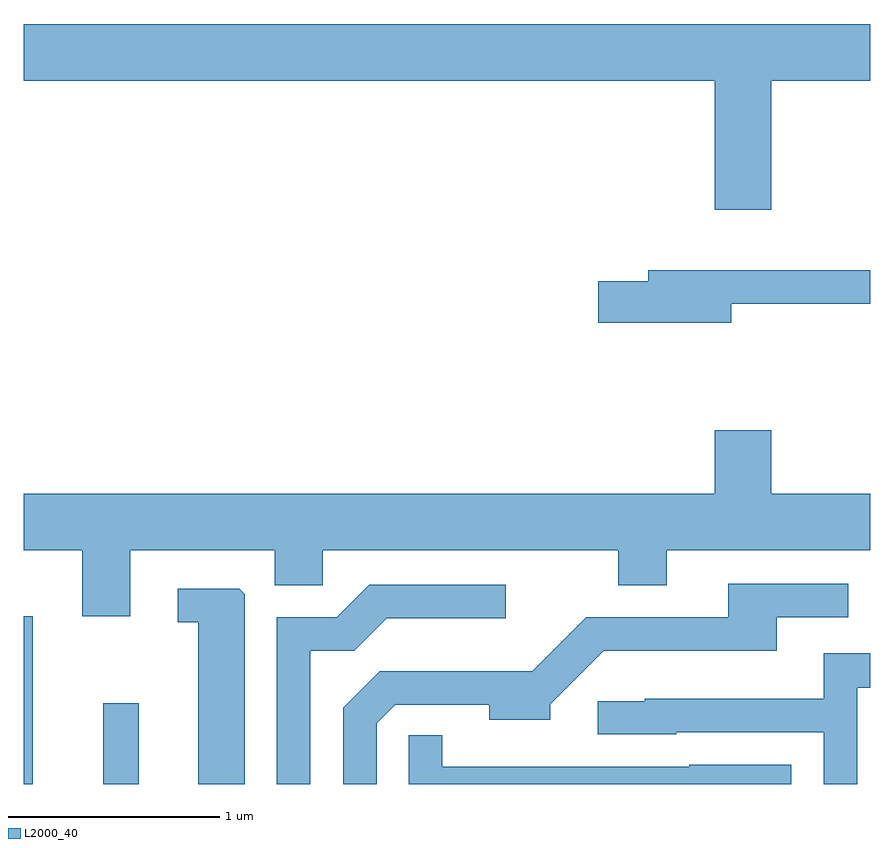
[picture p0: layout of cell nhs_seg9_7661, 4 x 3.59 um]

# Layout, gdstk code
import gdstk
lib = gdstk.Library(unit=1e-6, precision=1e-09)
def R(c, l, rs):  # rectangles x0, y0, x1, y1
    for r in rs: c.add(gdstk.rectangle(r[:2], r[2:], *l))
def P(c, l, *ps):  # polygons
    for p in ps: c.add(gdstk.Polygon(p, *l))
L2000_40 = (2000, 40)

nhs_seg9_7661 = lib.new_cell('nhs_seg9_7661')
R(nhs_seg9_7661, L2000_40, [(411.611,2048.432,411.654,2049.224), (411.986,2048.432,412.154,2048.813)])
P(nhs_seg9_7661, L2000_40, [(415.144,2051.756),(415.611,2051.756),(415.611,2052.024),(411.611,2052.024),(411.611,2051.756),(414.876,2051.756),(414.876,2051.146),(415.144,2051.146)],
  [(414.954,2050.701),(415.611,2050.701),(415.611,2050.859),(414.561,2050.859),(414.561,2050.809),(414.326,2050.809),(414.326,2050.611),(414.954,2050.611)],
  [(412.114,2049.536),(412.796,2049.536),(412.796,2049.371),(413.024,2049.371),(413.024,2049.536),(414.421,2049.536),(414.421,2049.371),(414.649,2049.371),(414.649,2049.536),(415.611,2049.536),(415.611,2049.804),(415.144,2049.804),(415.144,2050.104),(414.876,2050.104),(414.876,2049.804),(411.611,2049.804),(411.611,2049.536),(411.886,2049.536),(411.886,2049.226),(412.114,2049.226)],
  [(413.279,2048.719),(413.367,2048.806),(413.811,2048.806),(413.811,2048.736),(414.099,2048.736),(414.099,2048.809),(414.352,2049.061),(415.169,2049.061),(415.169,2049.221),(415.508,2049.221),(415.508,2049.379),(414.941,2049.379),(414.941,2049.219),(414.269,2049.219),(414.014,2048.964),(413.294,2048.964),(413.121,2048.792),(413.121,2048.432),(413.279,2048.432)],
  [(412.964,2049.061),(413.172,2049.061),(413.327,2049.216),(413.888,2049.216),(413.888,2049.374),(413.244,2049.374),(413.089,2049.219),(412.806,2049.219),(412.806,2048.432),(412.964,2048.432)],
  [(412.654,2049.329),(412.629,2049.354),(412.338,2049.354),(412.338,2049.196),(412.436,2049.196),(412.436,2048.432),(412.654,2048.432)],
  [(415.549,2048.886),(415.611,2048.886),(415.611,2049.049),(415.391,2049.049),(415.391,2048.834),(414.545,2048.834),(414.545,2048.824),(414.323,2048.824),(414.323,2048.666),(414.695,2048.666),(414.695,2048.676),(415.391,2048.676),(415.391,2048.432),(415.549,2048.432)],
  [(415.239,2048.524),(414.755,2048.524),(414.755,2048.514),(413.589,2048.514),(413.589,2048.663),(413.431,2048.663),(413.431,2048.432),(415.239,2048.432)])

lib.write_gds('nhs_seg9_7661.gds')
